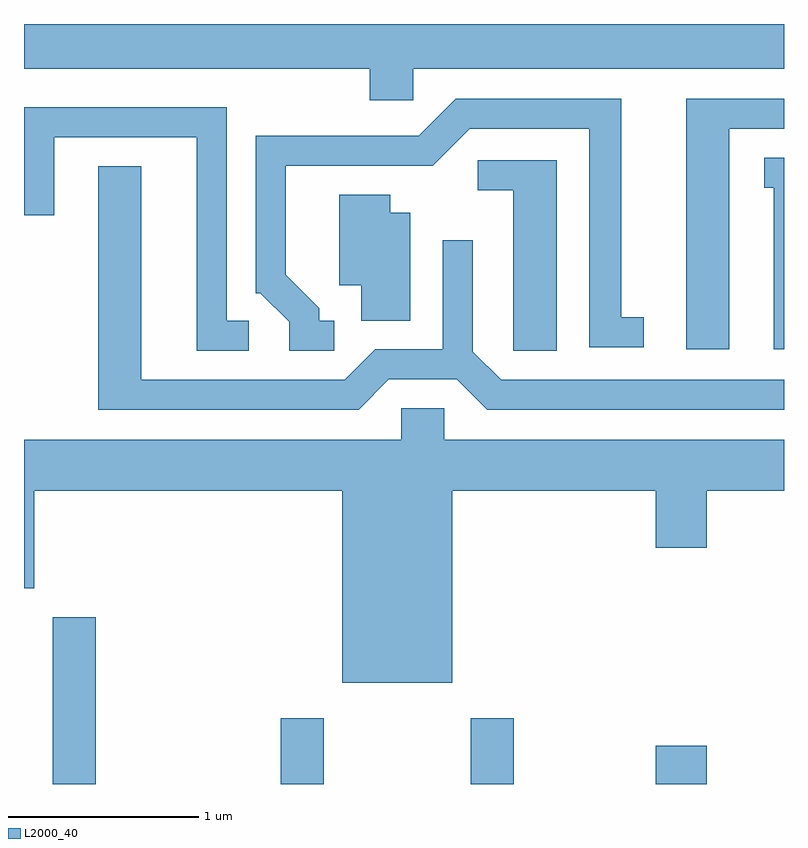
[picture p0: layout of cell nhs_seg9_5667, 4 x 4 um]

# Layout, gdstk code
import gdstk
lib = gdstk.Library(unit=1e-6, precision=1e-09)
def R(c, l, rs):  # rectangles x0, y0, x1, y1
    for r in rs: c.add(gdstk.rectangle(r[:2], r[2:], *l))
def P(c, l, *ps):  # polygons
    for p in ps: c.add(gdstk.Polygon(p, *l))
L2000_40 = (2000, 40)

nhs_seg9_5667 = lib.new_cell('nhs_seg9_5667')
R(nhs_seg9_5667, L2000_40, [(351.761,2052.432,351.989,2053.309), (352.961,2052.432,353.189,2052.779), (353.961,2052.432,354.189,2052.779), (354.936,2052.432,355.204,2052.634)])
P(nhs_seg9_5667, L2000_40, [(353.659,2056.196),(355.611,2056.196),(355.611,2056.432),(351.611,2056.432),(351.611,2056.196),(353.431,2056.196),(353.431,2056.031),(353.659,2056.031)],
  [(355.324,2055.881),(355.611,2055.881),(355.611,2056.039),(355.096,2056.039),(355.096,2054.721),(355.324,2054.721)],
  [(353.243,2054.869),(353.164,2054.869),(353.164,2054.937),(352.989,2055.112),(352.989,2055.686),(353.762,2055.686),(353.957,2055.881),(354.586,2055.881),(354.586,2054.731),(354.873,2054.731),(354.873,2054.889),(354.754,2054.889),(354.754,2056.039),(353.884,2056.039),(353.689,2055.844),(352.831,2055.844),(352.831,2055.016),(352.854,2055.016),(353.006,2054.864),(353.006,2054.711),(353.243,2054.711)],
  [(352.793,2054.869),(352.679,2054.869),(352.679,2055.994),(351.611,2055.994),(351.611,2055.426),(351.769,2055.426),(351.769,2055.836),(352.521,2055.836),(352.521,2054.711),(352.793,2054.711)],
  [(355.611,2055.729),(355.508,2055.729),(355.508,2055.571),(355.556,2055.571),(355.556,2054.721),(355.611,2054.721)],
  [(354.414,2055.714),(353.998,2055.714),(353.998,2055.556),(354.186,2055.556),(354.186,2054.711),(354.414,2054.711)],
  [(353.532,2054.561),(353.889,2054.561),(354.049,2054.401),(355.611,2054.401),(355.611,2054.559),(354.122,2054.559),(353.974,2054.707),(353.974,2055.293),(353.816,2055.293),(353.816,2054.719),(353.459,2054.719),(353.299,2054.559),(352.229,2054.559),(352.229,2055.684),(352.001,2055.684),(352.001,2054.401),(353.372,2054.401)],
  [(353.644,2055.439),(353.539,2055.439),(353.539,2055.534),(353.271,2055.534),(353.271,2055.056),(353.386,2055.056),(353.386,2054.871),(353.644,2054.871)],
  [(353.864,2053.976),(354.936,2053.976),(354.936,2053.676),(355.204,2053.676),(355.204,2053.976),(355.611,2053.976),(355.611,2054.244),(353.824,2054.244),(353.824,2054.409),(353.596,2054.409),(353.596,2054.244),(351.611,2054.244),(351.611,2053.461),(351.664,2053.461),(351.664,2053.976),(353.286,2053.976),(353.286,2052.966),(353.864,2052.966)])

lib.write_gds('nhs_seg9_5667.gds')
